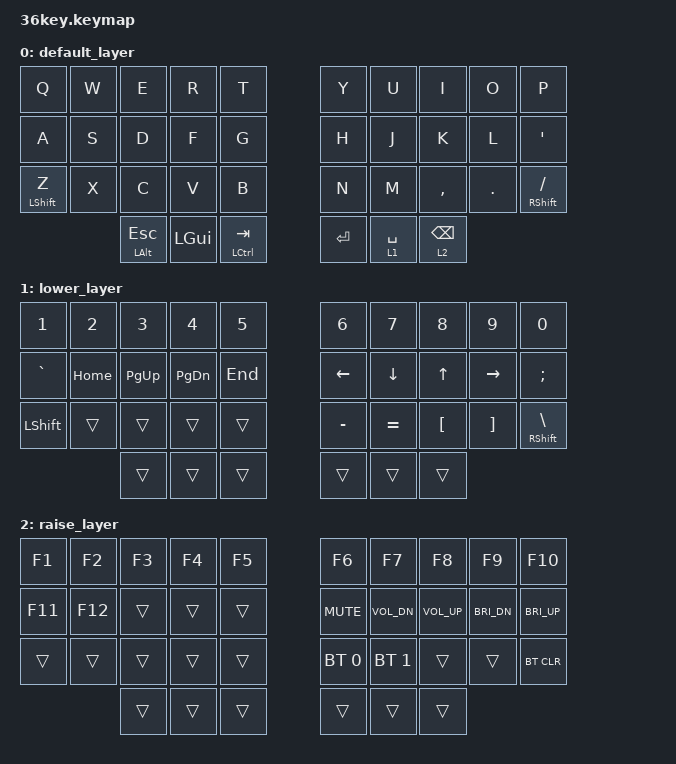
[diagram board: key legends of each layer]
/*
 * Copyright (c) 2020 The ZMK Contributors
 *
 * SPDX-License-Identifier: MIT
 */

#include <behaviors.dtsi>
#include <dt-bindings/zmk/keys.h>
#include <dt-bindings/zmk/bt.h>

/ {
	keymap {
		compatible = "zmk,keymap";

		default_layer {
			bindings = <
&kp Q          &kp W        &kp E        &kp R        &kp T               &kp Y         &kp U         &kp I         &kp O         &kp P
&kp A          &kp S        &kp D        &kp F        &kp G               &kp H         &kp J         &kp K         &kp L         &kp SQT
&mt LSHFT Z    &kp X        &kp C        &kp V        &kp B               &kp N         &kp M         &kp COMMA     &kp DOT       &mt RSHFT FSLH
                            &mt LALT ESC &kp LGUI     &mt LCTRL TAB       &kp RET       &lt 1 SPACE   &lt 2 BSPC
			>;
		};

    lower_layer {
      bindings = <
&kp N1         &kp N2       &kp N3       &kp N4       &kp N5              &kp N6        &kp N7        &kp N8        &kp N9        &kp N0
&kp GRAVE      &kp HOME     &kp PG_UP    &kp PG_DN    &kp END             &kp LEFT      &kp DOWN      &kp UP        &kp RIGHT     &kp SEMI
&kp LSHFT      &trans       &trans       &trans       &trans              &kp MINUS     &kp EQUAL     &kp LBKT      &kp RBKT      &mt RSHFT BSLH
                            &trans       &trans       &trans              &trans        &trans        &trans
      >;
    };

    raise_layer {
      bindings = <
&kp F1         &kp F2       &kp F3       &kp F4       &kp F5              &kp F6        &kp F7        &kp F8        &kp F9        &kp F10
&kp F11        &kp F12      &trans       &trans       &trans              &kp C_MUTE    &kp C_VOL_DN  &kp C_VOL_UP  &kp C_BRI_DN  &kp C_BRI_UP
&trans         &trans       &trans       &trans       &trans              &bt BT_SEL 0  &bt BT_SEL 1  &trans        &trans        &bt BT_CLR
                            &trans       &trans       &trans              &trans        &trans        &trans
      >;
    };
	};
};
